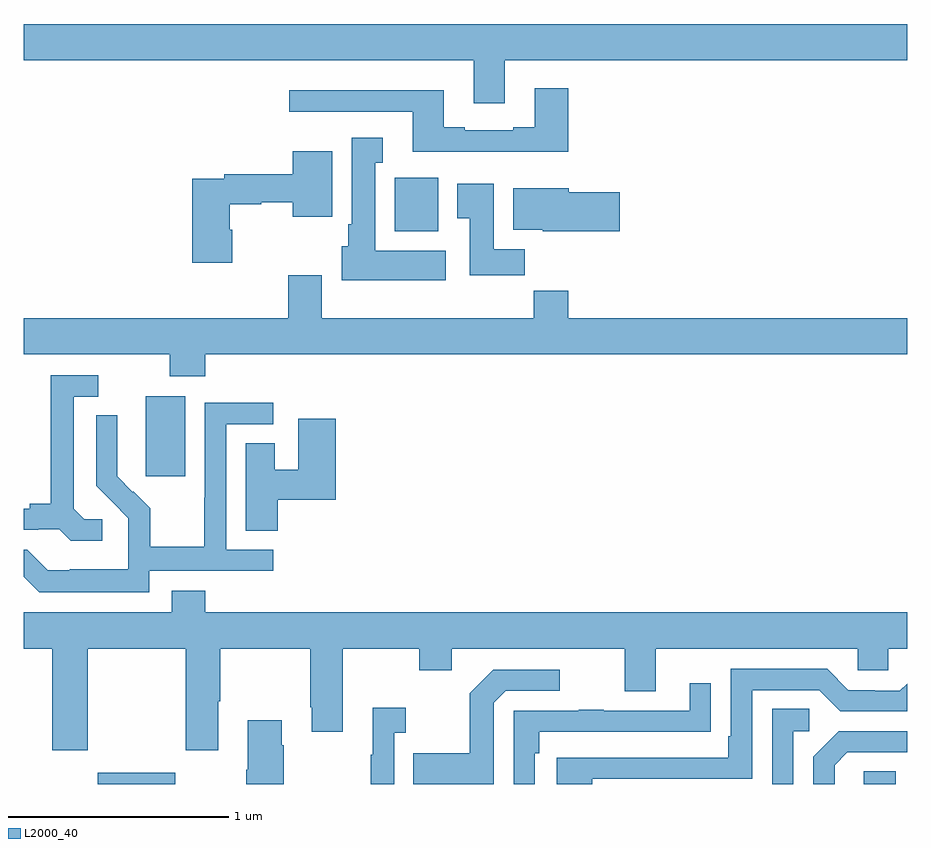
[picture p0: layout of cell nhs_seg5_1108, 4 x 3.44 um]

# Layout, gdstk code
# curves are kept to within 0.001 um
import gdstk
lib = gdstk.Library(unit=1e-6, precision=1e-09)
def R(c, l, rs):  # rectangles x0, y0, x1, y1
    for r in rs: c.add(gdstk.rectangle(r[:2], r[2:], *l))
def P(c, l, *ps):  # polygons
    for p in ps: c.add(gdstk.Polygon(p, *l))
L2000_40 = (2000, 40)

nhs_seg5_1108 = lib.new_cell('nhs_seg5_1108')
R(nhs_seg5_1108, L2000_40, [(179.336,870.799,179.686,870.85), (182.802,870.799,182.947,870.857), (179.552,872.193,179.731,872.554), (180.68,873.302,180.877,873.544)])
P(nhs_seg5_1108, L2000_40, [(181.177,874.076),(183,874.076),(183,874.24),(179,874.24),(179,874.076),(181.037,874.076),(181.037,873.882),(181.177,873.882)],
  [(181.466,873.949),(181.313,873.949),(181.313,873.772),(181.217,873.772),(181.217,873.759),(180.997,873.759),(180.997,873.772),(180.901,873.772),(180.901,873.94),(180.201,873.94),(180.201,873.843),(180.761,873.843),(180.761,873.662),(181.466,873.662)],
  [(180.91,873.214),(180.592,873.214),(180.592,873.611),(180.625,873.611),(180.625,873.724),(180.485,873.724),(180.485,873.334),(180.47,873.334),(180.47,873.234),(180.44,873.234),(180.44,873.08),(180.91,873.08)],
  [(179.945,873.309),(179.932,873.309),(179.932,873.424),(180.075,873.424),(180.075,873.432),(180.218,873.432),(180.218,873.368),(180.397,873.368),(180.397,873.664),(180.218,873.664),(180.218,873.56),(179.908,873.56),(179.908,873.54),(179.762,873.54),(179.762,873.159),(179.945,873.159)],
  [(181.268,873.22),(181.129,873.22),(181.129,873.517),(180.962,873.517),(180.962,873.361),(181.019,873.361),(181.019,873.102),(181.268,873.102)],
  [(181.699,873.479),(181.468,873.479),(181.468,873.496),(181.217,873.496),(181.217,873.308),(181.35,873.308),(181.35,873.302),(181.699,873.302)],
  [(183,872.908),(181.466,872.908),(181.466,873.032),(181.309,873.032),(181.309,872.908),(180.349,872.908),(180.349,873.103),(180.197,873.103),(180.197,872.908),(179,872.908),(179,872.744),(179.662,872.744),(179.662,872.645),(179.822,872.645),(179.822,872.744),(183,872.744)],
  [(179.356,871.998),(179.274,871.998),(179.227,872.045),(179.227,872.553),(179.338,872.553),(179.338,872.649),(179.123,872.649),(179.123,872.069),(179.027,872.069),(179.027,872.046),(179,872.046),(179,871.95),(179.066,871.95),(179.066,871.953),(179.16,871.953),(179.212,871.901),(179.356,871.901)],
  [(179.568,871.764),(180.13,871.764),(180.13,871.86),(179.916,871.86),(179.916,872.427),(180.13,872.427),(180.13,872.526),(179.82,872.526),(179.82,872.096),(179.818,872.096),(179.818,871.873),(179.573,871.873),(179.573,872.047),(179.496,872.124),(179.493,872.121),(179.423,872.192),(179.424,872.468),(179.328,872.468),(179.328,872.15),(179.474,872.002),(179.474,871.905),(179.472,871.905),(179.472,871.771),(179.209,871.771),(179.209,871.767),(179.109,871.767),(179.016,871.86),(179,871.86),(179,871.738),(179.071,871.667),(179.568,871.667)],
  [(180.149,872.087),(180.413,872.087),(180.413,872.452),(180.242,872.452),(180.242,872.221),(180.136,872.221),(180.136,872.342),(180.005,872.342),(180.005,871.945),(180.149,871.945)],
  [(179.822,871.675),(179.669,871.675),(179.669,871.576),(179,871.576),(179,871.412),(179.129,871.412),(179.129,870.951),(179.289,870.951),(179.289,871.412),(179.734,871.412),(179.734,870.951),(179.881,870.951),(179.881,871.174),(179.889,871.174),(179.889,871.412),(180.298,871.412),(180.298,871.147),(180.305,871.147),(180.305,871.035),(180.445,871.035),(180.445,871.412),(180.79,871.412),(180.79,871.313),(180.937,871.313),(180.937,871.412),(181.721,871.412),(181.721,871.218),(181.861,871.218),(181.861,871.412),(182.775,871.412),(182.775,871.314),(182.913,871.314),(182.913,871.412),(183,871.412),(183,871.576),(179.822,871.576)],
  [(181.574,870.822),(182.298,870.822),(182.298,871.224),(182.601,871.224),(182.697,871.128),(183,871.128),(183,871.254),(182.967,871.221),(182.852,871.221),(182.852,871.224),(182.733,871.224),(182.637,871.32),(182.202,871.32),(182.202,871.015),(182.189,871.015),(182.189,870.918),(181.413,870.918),(181.413,870.799),(181.574,870.799)],
  [(181.128,871.167),(181.182,871.221),(181.426,871.221),(181.426,871.317),(181.125,871.317),(181.02,871.211),(181.02,870.939),(180.763,870.939),(180.763,870.799),(181.128,870.799)],
  [(181.314,870.938),(181.334,870.938),(181.334,871.035),(182.009,871.035),(182.009,871.036),(182.111,871.036),(182.111,871.255),(182.015,871.255),(182.015,871.131),(181.625,871.131),(181.625,871.136),(181.513,871.136),(181.513,871.131),(181.218,871.131),(181.218,870.799),(181.314,870.799)],
  [(180.678,871.031),(180.73,871.031),(180.73,871.144),(180.581,871.144),(180.581,870.931),(180.57,870.931),(180.57,870.799),(180.678,870.799)],
  [(182.484,871.038),(182.557,871.038),(182.557,871.139),(182.388,871.139),(182.388,870.799),(182.484,870.799)],
  [(180.177,870.974),(180.169,870.974),(180.169,871.087),(180.014,871.087),(180.014,870.863),(180.007,870.863),(180.007,870.799),(180.177,870.799)],
  [(182.671,870.885),(182.728,870.942),(183,870.942),(183,871.038),(182.69,871.038),(182.574,870.922),(182.574,870.799),(182.671,870.799)])

lib.write_gds('nhs_seg5_1108.gds')
